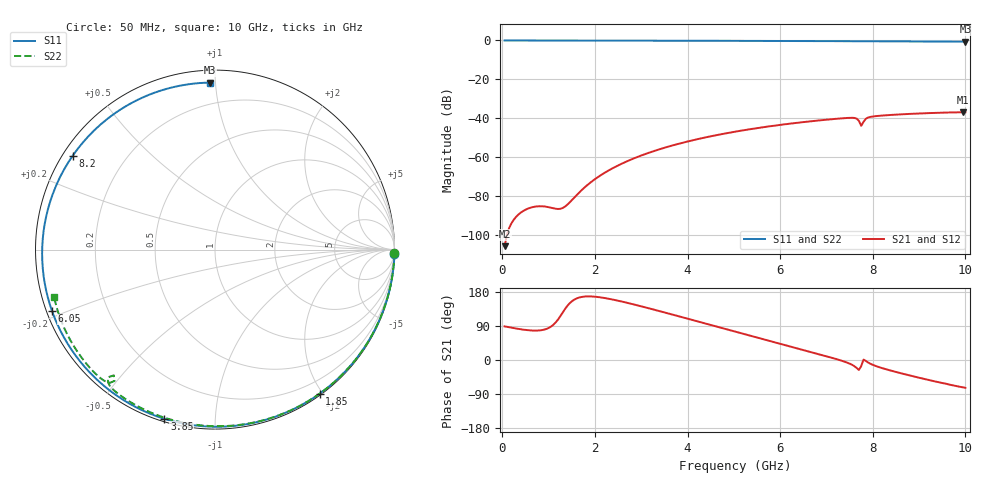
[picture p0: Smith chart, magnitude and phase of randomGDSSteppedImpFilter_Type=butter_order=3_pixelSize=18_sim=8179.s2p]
! freq	dB(S11)	phase(S11)	dB(S12)	phase(S12)
!  dB(S21)	phase(S21)	dB(S22)	phase(S22)
!S-par simulation data
#  GHz  S  DB  R 50
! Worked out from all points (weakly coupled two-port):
!   200 points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, 50 MHz to 10 GHz, reference 50 ohm
!   highest |S21| = -36.97 dB at 9.95 GHz (marker M1); lowest = -105.9 dB at 50 MHz (marker M2)
!   lowest |S11| = -0.6 dB at 10 GHz (marker M3), VSWR 27.79, Z = 3.48 + j48.3 ohm
!   |S11| at or under -10 dB: nowhere
!   |S22| runs from -0.9 to 0.0 dB; largest |S21 - S12| = 0
!   S11 on the Smith chart (normalised r, x): 50 MHz: 0, -76; 1.85 GHz: 0.02, -1.96; 3.85 GHz: 0.01, -0.75; 6.05 GHz: 0.02, -0.18; 8.2 GHz: 0.03, +0.30; 10 GHz: 0.07, +0.97
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0.05  -0.00 -1.5  -105.86 88.8  -105.86 88.8  -0.00 -0.9
0.75  -0.03 -22.3  -85.40 77.7  -85.40 77.7  -0.02 -13.9
1.55  -0.06 -45.6  -80.94 159.0  -80.94 159.0  -0.04 -28.5
1.6  -0.06 -47.0  -79.69 162.2  -79.69 162.2  -0.04 -29.4
1.75  -0.06 -51.2  -76.21 167.1  -76.21 167.1  -0.04 -32.1
1.85  -0.07 -54.0  -74.14 167.9  -74.14 167.9  -0.04 -33.9
2.5  -0.09 -71.8  -64.33 156.5  -64.33 156.5  -0.06 -45.4
3.4  -0.12 -95.3  -55.96 128.9  -55.96 128.9  -0.08 -60.9
3.85  -0.14 -106.6  -52.91 114.1  -52.91 114.1  -0.09 -68.4
5.05  -0.20 -135.6  -46.85 74.2  -46.85 74.2  -0.14 -87.8
6.05  -0.26 -159.3  -43.30 41.3  -43.30 41.3  -0.18 -103.4
6.7  -0.31 -174.9  -41.50 20.0  -41.50 20.0  -0.22 -113.2
7.6  -0.39 162.5  -39.88 -16.1  -39.88 -16.1  -0.37 -127.8
7.7  -0.40 159.9  -41.35 -26.4  -41.35 -26.4  -0.66 -129.9
7.75  -0.41 158.6  -43.92 -16.1  -43.92 -16.1  -0.92 -128.8
7.85  -0.41 156.0  -40.29 -2.3  -40.29 -2.3  -0.50 -128.2
7.9  -0.42 154.7  -39.65 -6.6  -39.65 -6.6  -0.42 -129.3
8.2  -0.45 146.6  -38.65 -21.3  -38.65 -21.3  -0.36 -134.6
8.35  -0.46 142.4  -38.39 -26.6  -38.39 -26.6  -0.37 -137.0
9.2  -0.55 117.6  -37.39 -52.5  -37.39 -52.5  -0.45 -150.1
9.95  -0.62 93.5  -36.97 -72.3  -36.97 -72.3  -0.58 -162.7
10  -0.63 91.8  -36.97 -73.4  -36.97 -73.4  -0.60 -163.6
